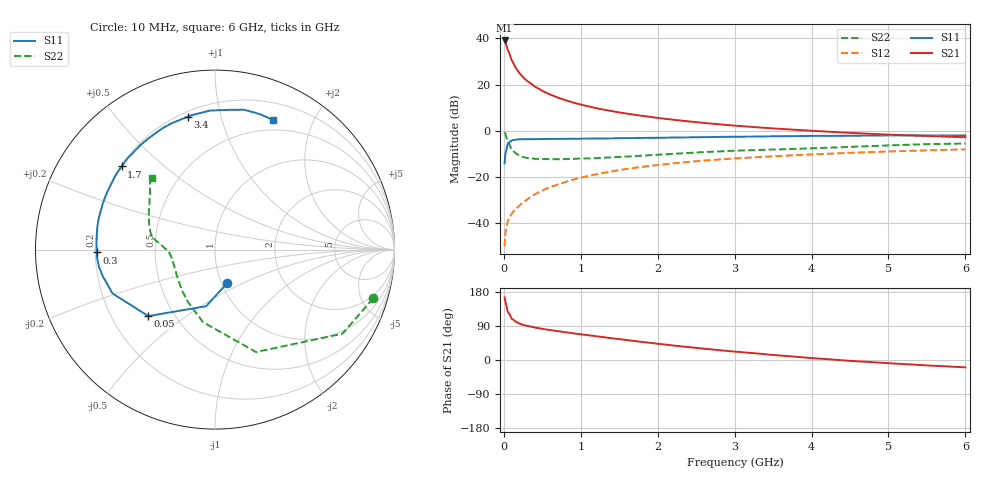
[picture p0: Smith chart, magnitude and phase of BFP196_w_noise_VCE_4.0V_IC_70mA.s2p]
! Infineon Technologies  Discrete & RF Semiconductors
! BFP196
! VCE =  4.0 V,  IC =  70 mA
! Common Emitter S-Parameters:  Jan 2017
# GHz  S  MA  R  50
!  f  S11  S21  S12  S22
! GHz  MAG  ANG  MAG  ANG  MAG  ANG  MAG  ANG
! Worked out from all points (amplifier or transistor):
!   77 points, 10 MHz to 6 GHz, reference 50 ohm
!   highest |S21| = 39.1 dB at 10 MHz (marker M1)
!   |S21| within 3 dB of that: start of sweep to 41.13 MHz
!   unconditionally stable (mu >= 1): 464 MHz to 2.454 GHz
!   at 130 MHz: K = 0.71, MSG = 31.8 dB, |S12| = -34.7 dB
!   at 2.2 GHz: K = 1.01, MAG = 8.9 dB, |S12| = -14.1 dB
!   at 6 GHz: K = 0.96, MSG = 2.6 dB, |S12| = -8.0 dB
!   lowest NFmin = 1.68 dB at 450 MHz
!   S11 on the Smith chart (normalised r, x): 10 MHz: 1.07, -0.41; 50 MHz: 0.36, -0.37; 300 MHz: 0.21, -0.01; 1.7 GHz: 0.20, +0.37; 3.4 GHz: 0.23, +0.79; 6 GHz: 0.38, +1.47
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0.01  0.1979 -69.7  89.86 165.4  0.0032 80.7  0.9226 -17.1
0.02  0.3193 -98.9  83.43 152.8  0.0061 73.6  0.8509 -33.4
0.05  0.5248 -135.1  57.37 127.2  0.011 57.5  0.6147 -68.2
0.1  0.6213 -156.9  34.06 109.2  0.0159 54.7  0.4092 -99.5
0.15  0.6419 -166.4  23.54 101.4  0.0201 59.2  0.3285 -117.3
0.2  0.6534 -171.5  17.91 96.4  0.0239 62.8  0.2919 -129.2
0.25  0.6582 -175.7  14.4 92.7  0.0284 63.7  0.2708 -137.5
0.3  0.6587 -178.6  12.05 90.2  0.0325 65.8  0.2598 -144.2
0.4  0.661 176.7  9.11 85.7  0.0419 68.6  0.2483 -152.8
0.5  0.6636 172.7  7.3 82.2  0.0511 68.8  0.2448 -158.8
0.6  0.6674 169.3  6.112 79.0  0.0604 69.0  0.2443 -163.2
0.7  0.6696 166.3  5.24 76.2  0.0688 68.5  0.2429 -166.6
0.8  0.6718 163.2  4.596 73.2  0.0785 68.3  0.2449 -169.0
1.1  0.6783 154.6  3.368 65.3  0.1058 65.4  0.2533 -174.8
1.4  0.6854 146.4  2.673 57.5  0.1325 61.3  0.2666 -179.1
1.7  0.6961 138.3  2.221 50.1  0.1583 57.4  0.2835 178.0
2.1  0.71 128.1  1.817 40.7  0.1897 51.4  0.3109 173.9
3.1  0.746 107.0  1.257 20.5  0.2579 37.4  0.3753 164.1
3.4  0.7557 101.6  1.157 15.2  0.2754 33.7  0.3882 160.3
4.1  0.7753 90.6  0.981 3.7  0.3133 25.1  0.4238 150.3
5.1  0.795 76.9  0.815 -9.6  0.3611 13.4  0.4892 137.8
6  0.7915 66.0  0.726 -19.4  0.3977 3.4  0.5297 131.4
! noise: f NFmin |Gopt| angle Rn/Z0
0.45  1.68  0.46  -172  0.06
0.9  1.84  0.5  -159  0.09
1.9  2.66  0.69  -131  0.36
2.4  3.05  0.7  -117  0.79
